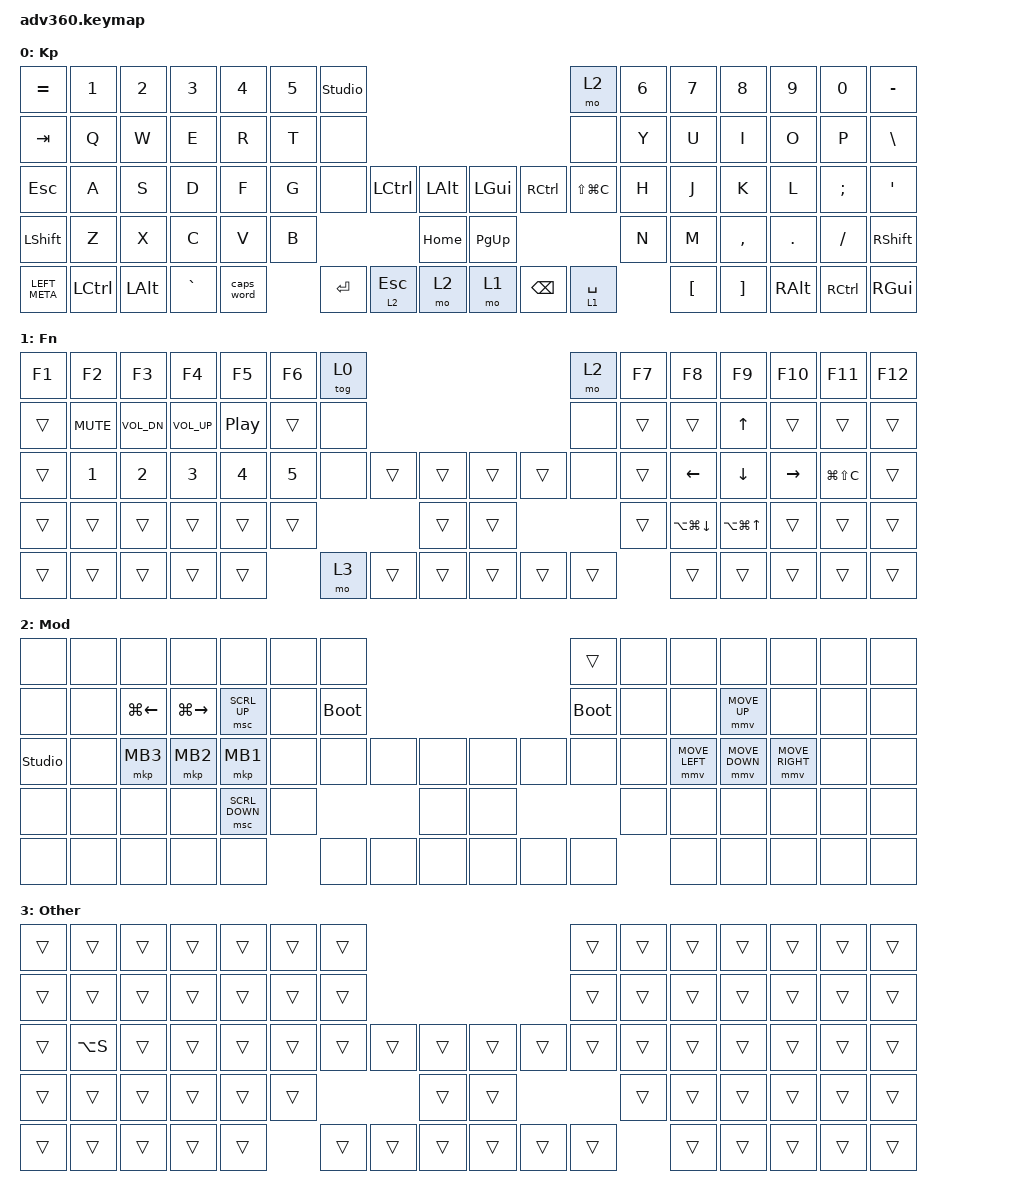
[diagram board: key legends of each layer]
#include <dt-bindings/zmk/stp.h>

#define ZMK_POINTING_DEFAULT_MOVE_VAL 1500  // default: 600
#define ZMK_POINTING_DEFAULT_SCRL_VAL 20    // default: 10

#include <behaviors.dtsi>
#include <dt-bindings/zmk/keys.h>
#include <dt-bindings/zmk/pointing.h>

/ {
    behaviors {
        #include "macros.dtsi"
      #include "version.dtsi"

        hm: homerow_mods {
            compatible = "zmk,behavior-hold-tap";
            label = "HOMEROW_MODS";
            #binding-cells = <2>;
            tapping-term-ms = <200>;
            quick_tap_ms = <175>;
            flavor = "tap-preferred";
            bindings = <&kp>, <&kp>;
        };
    };

    keymap {
        compatible = "zmk,keymap";

        main {
            display-name = "Kp";
            bindings = <
&kp EQUAL      &kp N1     &kp N2    &kp N3     &kp N4      &kp N5  &studio_unlock                                                        &mo 2          &kp N6  &kp N7            &kp N8             &kp N9      &kp N0         &kp MINUS
&kp TAB        &kp Q      &kp W     &kp E      &kp R       &kp T   &none                                                                 &none          &kp Y   &kp U             &kp I              &kp O       &kp P          &kp BSLH
&kp ESC        &kp A      &kp S     &kp D      &kp F       &kp G   &none           &kp LCTRL     &kp LALT      &kp LGUI   &kp RCTRL      &kp LS(LG(C))  &kp H   &kp J             &kp K              &kp L       &kp SEMICOLON  &kp SQT
&kp LSHFT      &kp Z      &kp X     &kp C      &kp V       &kp B                                 &kp HOME      &kp PG_UP                                &kp N   &kp M             &kp COMMA          &kp PERIOD  &kp SLASH      &kp RSHFT
&kp LEFT_META  &kp LCTRL  &kp LALT  &kp GRAVE  &caps_word          &kp ENTER       &lt 2 ESCAPE  &mo 2         &mo 1      &kp BACKSPACE  &lt 1 SPACE            &kp LEFT_BRACKET  &kp RIGHT_BRACKET  &kp RALT    &kp RCTRL      &kp RIGHT_GUI
            >;
        };

        spaces {
            display-name = "Fn";
            bindings = <
&kp F1  &kp F2        &kp F3        &kp F4           &kp F5        &kp F6        &tog 0                                      &mo 2   &kp F7  &kp F8            &kp F9                &kp F10          &kp F11        &kp F12
&trans  &kp C_MUTE    &kp C_VOL_DN  &kp C_VOLUME_UP  &kp C_PP      &trans        &none                                       &none   &trans  &trans            &kp UP_ARROW          &trans           &trans         &trans
&trans  &kp NUMBER_1  &kp NUMBER_2  &kp NUMBER_3     &kp NUMBER_4  &kp NUMBER_5  &none   &trans  &trans      &trans  &trans  &none   &trans  &kp LEFT          &kp DOWN_ARROW        &kp RIGHT_ARROW  &kp LG(LS(C))  &trans
&trans  &trans        &trans        &trans           &trans        &trans                        &trans      &trans                  &trans  &kp LA(LG(DOWN))  &kp LA(LG(UP_ARROW))  &trans           &trans         &trans
&trans  &trans        &trans        &trans           &trans                      &mo 3   &trans  &trans      &trans  &trans  &trans          &trans            &trans                &trans           &trans         &trans
            >;
        };

        mouse {
            display-name = "Mod";
            bindings = <
&none           &none  &none         &none          &none           &none  &none                                        &trans       &none  &none           &none           &none            &none  &none
&none           &none  &kp LG(LEFT)  &kp LG(RIGHT)  &msc SCRL_UP    &none  &bootloader                                  &bootloader  &none  &none           &mmv MOVE_UP    &none            &none  &none
&studio_unlock  &none  &mkp MB3      &mkp MB2       &mkp MB1        &none  &none        &none  &none      &none  &none  &none        &none  &mmv MOVE_LEFT  &mmv MOVE_DOWN  &mmv MOVE_RIGHT  &none  &none
&none           &none  &none         &none          &msc SCRL_DOWN  &none                      &none      &none                      &none  &none           &none           &none            &none  &none
&none           &none  &none         &none          &none                  &none        &none  &none      &none  &none  &none               &none           &none           &none            &none  &none
            >;
        };

        Other {
            bindings = <
&trans  &trans     &trans  &trans  &trans  &trans  &trans                                      &trans  &trans  &trans  &trans  &trans  &trans  &trans
&trans  &trans     &trans  &trans  &trans  &trans  &trans                                      &trans  &trans  &trans  &trans  &trans  &trans  &trans
&trans  &kp LA(S)  &trans  &trans  &trans  &trans  &trans  &trans  &trans      &trans  &trans  &trans  &trans  &trans  &trans  &trans  &trans  &trans
&trans  &trans     &trans  &trans  &trans  &trans                  &trans      &trans                  &trans  &trans  &trans  &trans  &trans  &trans
&trans  &trans     &trans  &trans  &trans          &trans  &trans  &trans      &trans  &trans  &trans          &trans  &trans  &trans  &trans  &trans
            >;
        };
    };
};
